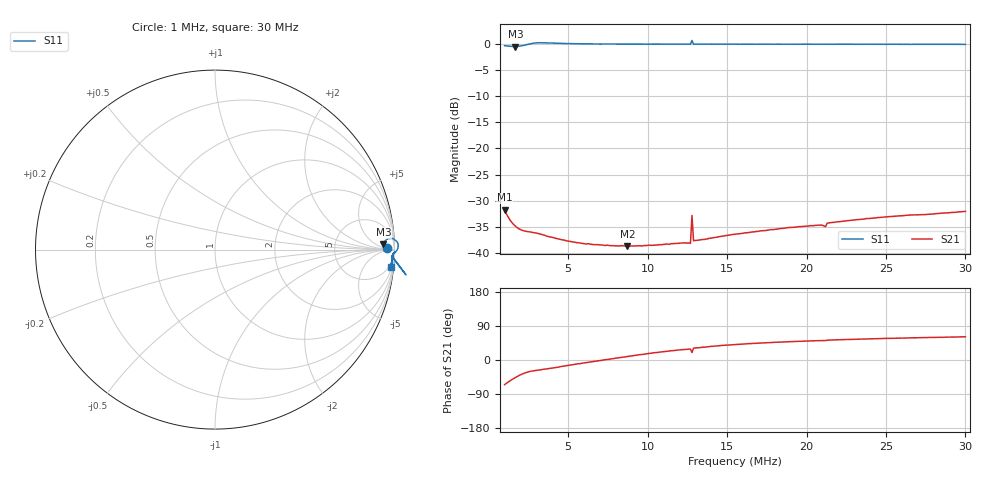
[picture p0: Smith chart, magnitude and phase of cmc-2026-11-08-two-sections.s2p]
!File created by NanoVNA-F V2
# Hz S RI R 50
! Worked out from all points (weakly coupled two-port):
!   301 points, 1 MHz to 30 MHz, reference 50 ohm
!   highest |S21| = -31.72 dB at 1 MHz (marker M1); lowest = -38.7 dB at 8.733 MHz (marker M2)
!   lowest |S11| = -0.6 dB at 1.677 MHz (marker M3), VSWR 31.59, Z = 1.28e+03 + j622 ohm
!   |S11| at or under -10 dB: nowhere
!   S12 and S22 are empty: the file has one direction only
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1000000  0.9562 0.00723  0.0109 -0.0235  0 0  0 0
1289998  0.9452 0.0121  0.0118 -0.0177  0 0  0 0
1676662  0.9382 0.029  0.0125 -0.0131  0 0  0 0
2063326  0.952 0.0517  0.0131 -0.0102  0 0  0 0
2449990  0.982 0.0626  0.0136 -0.0085  0 0  0 0
3126652  1.021 0.029  0.0137 -0.00687  0 0  0 0
4189978  1.01 -0.00833  0.0131 -0.00474  0 0  0 0
5833300  0.9963 -0.0201  0.0123 -0.00189  0 0  0 0
8733280  0.991 -0.0276  0.0115 0.00186  0 0  0 0
1.06666e7  0.9895 -0.0343  0.0113 0.00411  0 0  0 0
1.211659e7  0.9881 -0.0378  0.0111 0.00568  0 0  0 0
1.269659e7  0.9884 -0.0405  0.0109 0.00596  0 0  0 0
1.279325e7  1.064 -0.1403  0.0216 0.00772  0 0  0 0
1.288992e7  0.9887 -0.0409  0.0112 0.00682  0 0  0 0
1.54999e7  0.9873 -0.0477  0.0115 0.00986  0 0  0 0
1.888321e7  0.9863 -0.0591  0.0117 0.0131  0 0  0 0
2.03332e7  0.985 -0.065  0.0116 0.0141  0 0  0 0
2.09132e7  0.9852 -0.0679  0.0116 0.0144  0 0  0 0
2.120319e7  0.9849 -0.0681  0.0112 0.014  0 0  0 0
2.129986e7  0.9853 -0.0673  0.0119 0.0153  0 0  0 0
2.51665e7  0.9837 -0.0791  0.0121 0.0188  0 0  0 0
2.99998e7  0.9802 -0.0947  0.0121 0.022  0 0  0 0
